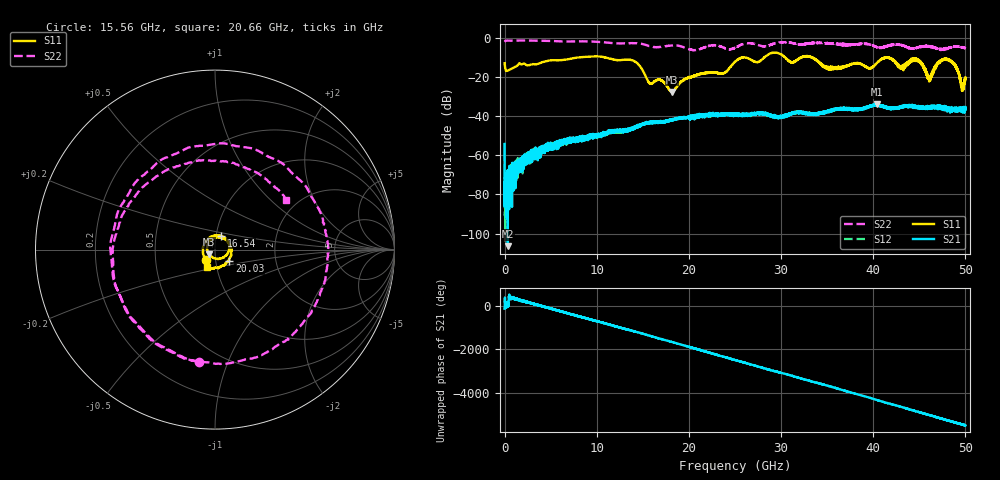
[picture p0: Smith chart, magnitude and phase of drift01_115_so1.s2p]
!Created with skrf (http://scikit-rf.org).
# Hz S RI R 50.0
!freq ReS11 ImS11 ReS21 ImS21 ReS12 ImS12 ReS22 ImS22
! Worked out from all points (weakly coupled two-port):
!   10001 points, 300 kHz to 50 GHz, reference 50 ohm
!   highest |S21| = -33.95 dB at 40.4 GHz (marker M1); lowest = -106.5 dB at 350.3 MHz (marker M2)
!   lowest |S11| = -27.7 dB at 18.12 GHz (marker M3), VSWR 1.09, Z = 46.8 - j2.4 ohm
!   |S11| at or under -10 dB: start of sweep to 8.086 GHz; 10.92 GHz to 26.01 GHz (15.09 GHz wide, 81.7 % of centre); 41.54 GHz to end of sweep (the widest 3 of 15)
!   |S22| runs from -6.4 to -1.4 dB; largest |S21 - S12| = 0.0042
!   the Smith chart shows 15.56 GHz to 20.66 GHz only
!   S11 on the Smith chart (normalised r, x): 15.56 GHz: 0.89, -0.11; 16.54 GHz: 1.05, +0.16; 20.03 GHz: 1.16, -0.15; 20.66 GHz: 0.90, -0.18
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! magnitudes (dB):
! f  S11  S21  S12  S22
! 300 kHz  -13.0  -54.2  -58.3  -2.1
! 350.3 MHz  -16.8  -106.5  -75.6  -1.4
! 3.02 GHz  -13.5  -59.9  -58.0  -1.4
! 8.335 GHz  -9.9  -51.2  -50.9  -1.8
! 13.86 GHz  -11.5  -46.0  -46.7  -2.7
! 15.56 GHz  -22.0  -43.7  -43.6  -4.0
! 16.54 GHz  -21.5  -43.1  -43.0  -4.7
! 16.67 GHz  -21.4  -42.9  -43.1  -4.8
! 18.12 GHz  -27.7  -42.0  -42.2  -3.9
! 20.03 GHz  -19.9  -40.2  -39.9  -5.9
! 20.66 GHz  -19.3  -40.2  -40.6  -6.3
! 25 GHz  -12.2  -38.8  -39.5  -5.1
! 33.34 GHz  -10.0  -38.7  -38.5  -2.7
! 35.22 GHz  -16.0  -37.1  -37.4  -2.9
! 40.4 GHz  -12.8  -34.0  -34.2  -4.8
! 41.67 GHz  -10.2  -35.5  -36.0  -4.1
! 43.07 GHz  -15.2  -35.3  -35.2  -3.6
! 44.81 GHz  -11.3  -35.0  -35.3  -5.0
! 46.12 GHz  -19.6  -35.4  -35.8  -4.3
! 48.07 GHz  -11.1  -36.9  -35.8  -5.1
! 49.64 GHz  -23.7  -36.0  -36.4  -4.7
! 50 GHz  -21.0  -36.2  -36.2  -5.3
